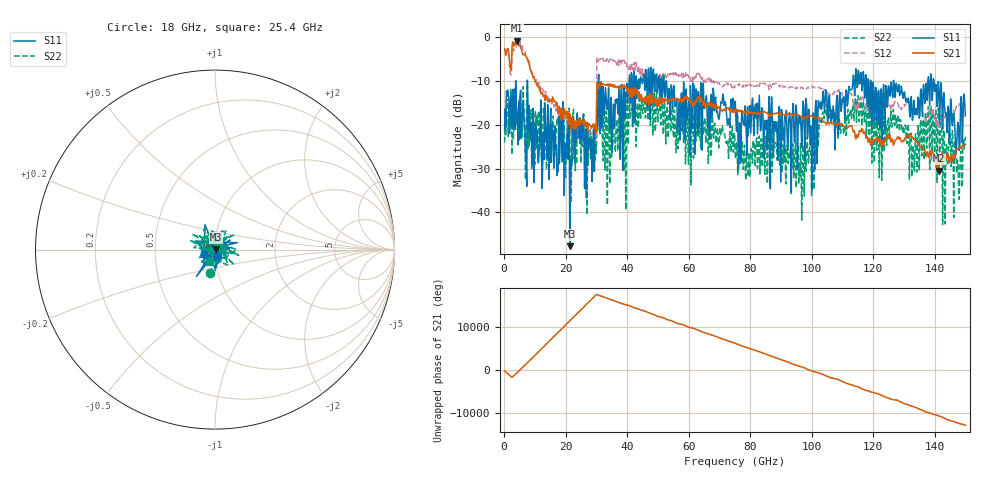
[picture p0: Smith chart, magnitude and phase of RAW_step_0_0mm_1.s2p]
!  2-Port S-parameters saved by WinCal
! VAR MeasName=S-Parameters (CALIBRATED_DATA) read from VNA (MS4647B)
! VAR MeasDate=27-Apr-22 16:07:20
! VAR NAME=RAW_stepline_0mm_1
! VAR FILENAME=RAW_stepline_0mm_1.S2P
! VAR DATE=27-Apr-22 16:07:20
! VAR PHYS_PORTS=1,2
! VAR ObjTypeName=DATASET
! VAR IndexType=Frequency
! VAR ChuckHeaterState=Unknown
! VAR ChuckTemp=NaN
! VAR ChuckTempUnits=Unknown
# Hz S RI R 50
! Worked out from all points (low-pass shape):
!   750 points, 200 MHz to 150 GHz, reference 50 ohm
!   highest |S21| = -0.86 dB at 4.2 GHz (marker M1); lowest = -30.5 dB at 141.4 GHz (marker M2)
!   |S21| within 3 dB of the highest: 708.8 MHz to 1.58 GHz (871.1 MHz wide, 76.1 % of centre); 2.54 GHz to 6.07 GHz (3.53 GHz wide, 82 % of centre)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
!   lowest |S11| = -47.7 dB at 21.4 GHz (marker M3), VSWR 1.01, Z = 50.4 + j0.178 ohm
!   |S11| at or under -10 dB: 7.604 GHz to 30.65 GHz (23.05 GHz wide, 120 % of centre); 52.8 GHz to 113.4 GHz (60.63 GHz wide, 72.9 % of centre); 126.6 GHz to 137.8 GHz (11.21 GHz wide, 8.48 % of centre)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
!   |S22| runs from -42.8 to -11.3 dB; largest |S21 - S12| = 1.8
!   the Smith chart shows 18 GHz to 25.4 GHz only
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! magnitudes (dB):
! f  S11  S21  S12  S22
! 200 MHz  -21.2  -2.7  -2.6  -24.1
! 4.2 GHz  -17.7  -0.9  -1.5  -16.7
! 14.4 GHz  -19.1  -14.5  -13.8  -20.2
! 17.4 GHz  -29.3  -15.8  -16.8  -19.8
! 18.8 GHz  -24.9  -16.5  -17.1  -23.3
! 21.4 GHz  -47.7  -17.6  -18.7  -22.4
! 25.2 GHz  -19.7  -19.5  -21.2  -21.9
! 29.4 GHz  -30.7  -19.8  -21.4  -27.4
! 30.8 GHz  -8.6  -11.7  -5.3  -16.3
! 39.2 GHz  -18.5  -11.1  -5.8  -17.7
! 41.2 GHz  -15.1  -11.7  -7.8  -17.6
! 50.2 GHz  -9.7  -14.4  -9.7  -17.4
! 75.2 GHz  -14.7  -17.4  -11.1  -27.8
! 76.6 GHz  -19.6  -17.1  -10.7  -28.6
! 81.2 GHz  -22.5  -17.3  -11.2  -25.0
! 100.2 GHz  -34.9  -18.1  -11.3  -27.1
! 104.4 GHz  -14.8  -19.5  -12.2  -16.8
! 125.2 GHz  -11.9  -22.6  -15.9  -23.3
! 133 GHz  -17.7  -23.0  -15.9  -24.8
! 141.4 GHz  -12.4  -30.5  -20.9  -18.3
! 148.4 GHz  -16.7  -25.1  -15.4  -27.1
! 150 GHz  -18.0  -24.6  -15.3  -22.8
